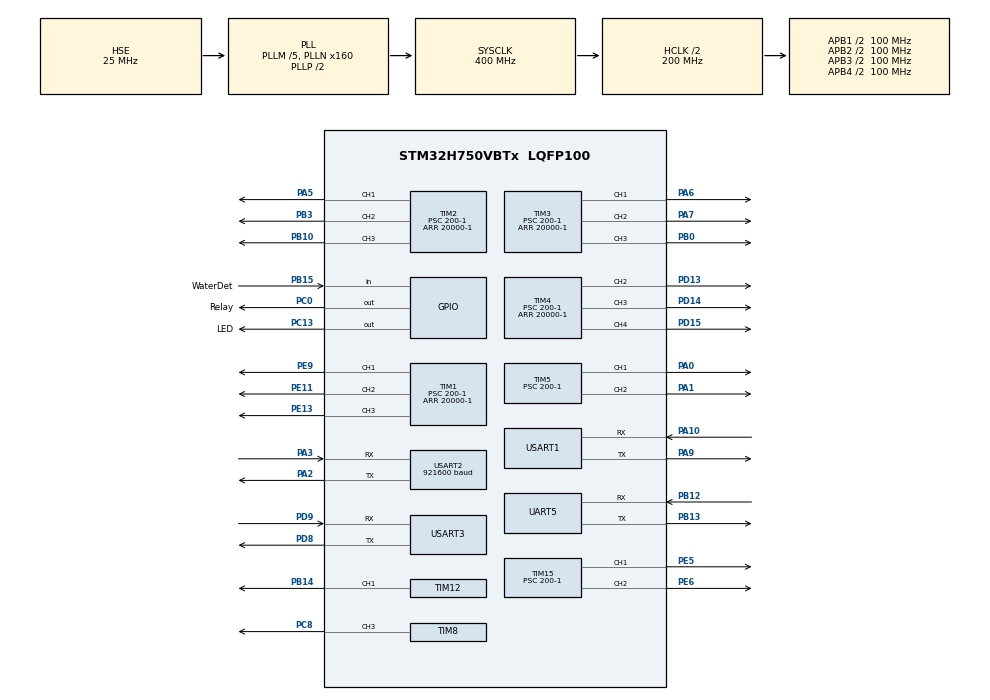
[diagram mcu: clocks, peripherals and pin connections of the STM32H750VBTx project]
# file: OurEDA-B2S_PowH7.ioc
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Dma.Request0=UART5_RX
Dma.Request1=UART5_TX
Dma.Request2=USART2_RX
Dma.Request3=USART2_TX
Dma.Request4=USART3_RX
Dma.Request5=USART3_TX
Dma.UART5_RX.0.Direction=DMA_PERIPH_TO_MEMORY
Dma.UART5_RX.0.EventEnable=DISABLE
Dma.UART5_RX.0.FIFOMode=DMA_FIFOMODE_DISABLE
Dma.UART5_RX.0.Instance=DMA1_Stream0
Dma.UART5_RX.0.MemDataAlignment=DMA_MDATAALIGN_BYTE
Dma.UART5_RX.0.MemInc=DMA_MINC_ENABLE
Dma.UART5_RX.0.Mode=DMA_NORMAL
Dma.UART5_RX.0.PeriphDataAlignment=DMA_PDATAALIGN_BYTE
Dma.UART5_RX.0.PeriphInc=DMA_PINC_DISABLE
Dma.UART5_RX.0.Polarity=HAL_DMAMUX_REQ_GEN_RISING
Dma.UART5_RX.0.Priority=DMA_PRIORITY_LOW
Dma.UART5_RX.0.RequestNumber=1
Dma.UART5_RX.0.SignalID=NONE
Dma.UART5_RX.0.SyncEnable=DISABLE
Dma.UART5_RX.0.SyncPolarity=HAL_DMAMUX_SYNC_NO_EVENT
Dma.UART5_RX.0.SyncRequestNumber=1
Dma.UART5_RX.0.SyncSignalID=NONE
Dma.UART5_TX.1.Direction=DMA_MEMORY_TO_PERIPH
Dma.UART5_TX.1.EventEnable=DISABLE
Dma.UART5_TX.1.FIFOMode=DMA_FIFOMODE_DISABLE
Dma.UART5_TX.1.Instance=DMA1_Stream1
Dma.UART5_TX.1.MemDataAlignment=DMA_MDATAALIGN_BYTE
Dma.UART5_TX.1.MemInc=DMA_MINC_ENABLE
Dma.UART5_TX.1.Mode=DMA_NORMAL
Dma.UART5_TX.1.PeriphDataAlignment=DMA_PDATAALIGN_BYTE
Dma.UART5_TX.1.PeriphInc=DMA_PINC_DISABLE
Dma.UART5_TX.1.Polarity=HAL_DMAMUX_REQ_GEN_RISING
Dma.UART5_TX.1.Priority=DMA_PRIORITY_LOW
Dma.UART5_TX.1.RequestNumber=1
Dma.UART5_TX.1.SignalID=NONE
Dma.UART5_TX.1.SyncEnable=DISABLE
Dma.UART5_TX.1.SyncPolarity=HAL_DMAMUX_SYNC_NO_EVENT
Dma.UART5_TX.1.SyncRequestNumber=1
Dma.UART5_TX.1.SyncSignalID=NONE
Dma.USART2_RX.2.Direction=DMA_PERIPH_TO_MEMORY
Dma.USART2_RX.2.EventEnable=DISABLE
Dma.USART2_RX.2.FIFOMode=DMA_FIFOMODE_DISABLE
Dma.USART2_RX.2.Instance=DMA1_Stream2
Dma.USART2_RX.2.MemDataAlignment=DMA_MDATAALIGN_BYTE
Dma.USART2_RX.2.MemInc=DMA_MINC_ENABLE
Dma.USART2_RX.2.Mode=DMA_NORMAL
Dma.USART2_RX.2.PeriphDataAlignment=DMA_PDATAALIGN_BYTE
Dma.USART2_RX.2.PeriphInc=DMA_PINC_DISABLE
Dma.USART2_RX.2.Polarity=HAL_DMAMUX_REQ_GEN_RISING
Dma.USART2_RX.2.Priority=DMA_PRIORITY_LOW
Dma.USART2_RX.2.RequestNumber=1
Dma.USART2_RX.2.SignalID=NONE
Dma.USART2_RX.2.SyncEnable=DISABLE
Dma.USART2_RX.2.SyncPolarity=HAL_DMAMUX_SYNC_NO_EVENT
Dma.USART2_RX.2.SyncRequestNumber=1
Dma.USART2_RX.2.SyncSignalID=NONE
Dma.USART2_TX.3.Direction=DMA_MEMORY_TO_PERIPH
Dma.USART2_TX.3.EventEnable=DISABLE
Dma.USART2_TX.3.FIFOMode=DMA_FIFOMODE_DISABLE
Dma.USART2_TX.3.Instance=DMA1_Stream3
Dma.USART2_TX.3.MemDataAlignment=DMA_MDATAALIGN_BYTE
Dma.USART2_TX.3.MemInc=DMA_MINC_ENABLE
Dma.USART2_TX.3.Mode=DMA_NORMAL
Dma.USART2_TX.3.PeriphDataAlignment=DMA_PDATAALIGN_BYTE
Dma.USART2_TX.3.PeriphInc=DMA_PINC_DISABLE
Dma.USART2_TX.3.Polarity=HAL_DMAMUX_REQ_GEN_RISING
Dma.USART2_TX.3.Priority=DMA_PRIORITY_LOW
Dma.USART2_TX.3.RequestNumber=1
Dma.USART2_TX.3.SignalID=NONE
Dma.USART2_TX.3.SyncEnable=DISABLE
Dma.USART2_TX.3.SyncPolarity=HAL_DMAMUX_SYNC_NO_EVENT
Dma.USART2_TX.3.SyncRequestNumber=1
Dma.USART2_TX.3.SyncSignalID=NONE
Dma.USART3_RX.4.Direction=DMA_PERIPH_TO_MEMORY
Dma.USART3_RX.4.EventEnable=DISABLE
Dma.USART3_RX.4.FIFOMode=DMA_FIFOMODE_DISABLE
Dma.USART3_RX.4.Instance=DMA1_Stream4
Dma.USART3_RX.4.MemDataAlignment=DMA_MDATAALIGN_BYTE
Dma.USART3_RX.4.MemInc=DMA_MINC_ENABLE
Dma.USART3_RX.4.Mode=DMA_NORMAL
Dma.USART3_RX.4.PeriphDataAlignment=DMA_PDATAALIGN_BYTE
Dma.USART3_RX.4.PeriphInc=DMA_PINC_DISABLE
Dma.USART3_RX.4.Polarity=HAL_DMAMUX_REQ_GEN_RISING
Dma.USART3_RX.4.Priority=DMA_PRIORITY_LOW
Dma.USART3_RX.4.RequestNumber=1
Dma.USART3_RX.4.SignalID=NONE
Dma.USART3_RX.4.SyncEnable=DISABLE
Dma.USART3_RX.4.SyncPolarity=HAL_DMAMUX_SYNC_NO_EVENT
Dma.USART3_RX.4.SyncRequestNumber=1
Dma.USART3_RX.4.SyncSignalID=NONE
Dma.USART3_TX.5.Direction=DMA_MEMORY_TO_PERIPH
Dma.USART3_TX.5.EventEnable=DISABLE
Dma.USART3_TX.5.FIFOMode=DMA_FIFOMODE_DISABLE
Dma.USART3_TX.5.Instance=DMA1_Stream5
Dma.USART3_TX.5.MemDataAlignment=DMA_MDATAALIGN_BYTE
Dma.USART3_TX.5.MemInc=DMA_MINC_ENABLE
Dma.USART3_TX.5.Mode=DMA_NORMAL
Dma.USART3_TX.5.PeriphDataAlignment=DMA_PDATAALIGN_BYTE
Dma.USART3_TX.5.PeriphInc=DMA_PINC_DISABLE
Dma.USART3_TX.5.Polarity=HAL_DMAMUX_REQ_GEN_RISING
Dma.USART3_TX.5.Priority=DMA_PRIORITY_LOW
Dma.USART3_TX.5.RequestNumber=1
Dma.USART3_TX.5.SignalID=NONE
Dma.USART3_TX.5.SyncEnable=DISABLE
Dma.USART3_TX.5.SyncPolarity=HAL_DMAMUX_SYNC_NO_EVENT
Dma.USART3_TX.5.SyncRequestNumber=1
Dma.USART3_TX.5.SyncSignalID=NONE
FREERTOS.BinarySemaphores01=WT931_DONE_sem,Static,WT931_DONE_semControlBlock;GY39_Done_sem,Static,GY39_Done_semControlBlock;CMD_DONE_sem,Static,CMD_DONE_semControlBlock
FREERTOS.Queues01=WT931_Queue,2,IMUData_t,0,Static,WT931_QueueBuffer,WT931_QueueControlBlock;GY39_Queue,2,CarbinData_t,0,Static,GY39_QueueBuffer,GY39_QueueControlBlock;Attitude_Queue,2,IMUData_t,0,Static,Attitude_QueueBuffer,Attitude_QueueControlBlock
FREERTOS.Tasks01=Thread_Idle,-2,512,Thread_IdleEntry,Default,NULL,Static,Thread_IdleBuffer,Thread_IdleControlBlock;Thread_GY39,-1,512,Thread_GY39Entry,Default,NULL,Static,Thread_GY39Buffer,Thread_GY39ControlBlock;Thread_WT931,-1,512,Thread_WT931Entry,Default,NULL,Static,Thread_WT931Buffer,Thread_WT931ControlBlock;Thread_Control,0,512,Thread_ControlEntry,Default,NULL,Static,Thread_ControlBuffer,Thread_ControlControlBlock;Thread_Sensor,0,512,Thread_SensorEntry,Default,NULL,Static,Thread_SensorBuffer,Thread_SensorControlBlock
FREERTOS.configENABLE_FPU=1
Mcu.Family=STM32H7
Mcu.Name=STM32H750VBTx
Mcu.Package=LQFP100
NVIC.DMA1_Stream0_IRQn=true\:5\:0\:false\:false\:true\:true\:false\:true
NVIC.DMA1_Stream1_IRQn=true\:5\:0\:false\:false\:true\:true\:false\:true
NVIC.DMA1_Stream2_IRQn=true\:5\:0\:false\:false\:true\:true\:false\:true
NVIC.DMA1_Stream3_IRQn=true\:5\:0\:false\:false\:true\:true\:false\:true
NVIC.DMA1_Stream4_IRQn=true\:5\:0\:false\:false\:true\:true\:false\:true
NVIC.DMA1_Stream5_IRQn=true\:5\:0\:false\:false\:true\:true\:false\:true
NVIC.PriorityGroup=NVIC_PRIORITYGROUP_4
NVIC.TIM6_DAC_IRQn=true\:15\:0\:false\:false\:true\:false\:false\:true
NVIC.TimeBase=TIM6_DAC_IRQn
NVIC.TimeBaseIP=TIM6
NVIC.UART5_IRQn=true\:5\:0\:false\:false\:true\:true\:true\:true
NVIC.USART2_IRQn=true\:5\:0\:false\:false\:true\:true\:true\:true
NVIC.USART3_IRQn=true\:5\:0\:false\:false\:true\:true\:true\:true
PA0.Signal=S_TIM5_CH1
PA1.Signal=S_TIM5_CH2
PA10.Mode=Asynchronous
PA10.Signal=USART1_RX
PA13\ (JTMS/SWDIO).Mode=Serial_Wire
PA13\ (JTMS/SWDIO).Signal=DEBUG_JTMS-SWDIO
PA14\ (JTCK/SWCLK).Mode=Serial_Wire
PA14\ (JTCK/SWCLK).Signal=DEBUG_JTCK-SWCLK
PA2.Mode=Asynchronous
PA2.Signal=USART2_TX
PA3.Mode=Asynchronous
PA3.Signal=USART2_RX
PA5.Signal=S_TIM2_CH1_ETR
PA6.Signal=S_TIM3_CH1
PA7.Signal=S_TIM3_CH2
PA9.Mode=Asynchronous
PA9.Signal=USART1_TX
PB0.Signal=S_TIM3_CH3
PB10.Signal=S_TIM2_CH3
PB12.Mode=Asynchronous
PB12.Signal=UART5_RX
PB13.Mode=Asynchronous
PB13.Signal=UART5_TX
PB14.Signal=S_TIM12_CH1
PB15.GPIO_Label=WaterDet
PB15.Signal=GPIO_Input
PB3\ (JTDO/TRACESWO).Signal=S_TIM2_CH2
PC0.GPIO_Label=Relay
PC0.GPIO_PuPd=GPIO_PULLUP
PC0.Signal=GPIO_Output
PC13.GPIO_Label=LED
PC13.GPIO_PuPd=GPIO_PULLUP
PC13.Signal=GPIO_Output
PC14-OSC32_IN\ (OSC32_IN).Mode=LSE-External-Oscillator
PC14-OSC32_IN\ (OSC32_IN).Signal=RCC_OSC32_IN
PC15-OSC32_OUT\ (OSC32_OUT).Mode=LSE-External-Oscillator
PC15-OSC32_OUT\ (OSC32_OUT).Signal=RCC_OSC32_OUT
PC8.Signal=S_TIM8_CH3
PD13.Signal=S_TIM4_CH2
PD14.Signal=S_TIM4_CH3
PD15.Signal=S_TIM4_CH4
PD8.Mode=Asynchronous
PD8.Signal=USART3_TX
PD9.Mode=Asynchronous
PD9.Signal=USART3_RX
PE11.Signal=S_TIM1_CH2
PE13.Signal=S_TIM1_CH3
PE5.Signal=S_TIM15_CH1
PE6.Signal=S_TIM15_CH2
PE9.Signal=S_TIM1_CH1
PH0-OSC_IN\ (PH0).Mode=HSE-External-Oscillator
PH0-OSC_IN\ (PH0).Signal=RCC_OSC_IN
PH1-OSC_OUT\ (PH1).Mode=HSE-External-Oscillator
PH1-OSC_OUT\ (PH1).Signal=RCC_OSC_OUT
ProjectManager.HeapSize=0x200
ProjectManager.StackSize=0x400
ProjectManager.TargetToolchain=STM32CubeIDE
RCC.ADCFreq_Value=50390625
RCC.APB1Freq_Value=100000000
RCC.APB2Freq_Value=100000000
RCC.APB3Freq_Value=100000000
RCC.APB4Freq_Value=100000000
RCC.CortexFreq_Value=400000000
RCC.D1PPRE=RCC_APB3_DIV2
RCC.D2PPRE1=RCC_APB1_DIV2
RCC.D2PPRE2=RCC_APB2_DIV2
RCC.D3PPRE=RCC_APB4_DIV2
RCC.DIVM1=5
RCC.DIVN1=160
RCC.HCLKFreq_Value=200000000
RCC.HPRE=RCC_HCLK_DIV2
RCC.PLLSourceVirtual=RCC_PLLSOURCE_HSE
RCC.SYSCLKFreq_VALUE=400000000
RCC.SYSCLKSource=RCC_SYSCLKSOURCE_PLLCLK
RCC.USBFreq_Value=400000000
SH.S_TIM12_CH1.0=TIM12_CH1,PWM Generation1 CH1
SH.S_TIM15_CH1.0=TIM15_CH1,PWM Generation1 CH1
SH.S_TIM15_CH2.0=TIM15_CH2,PWM Generation2 CH2
SH.S_TIM1_CH1.0=TIM1_CH1,PWM Generation1 CH1
SH.S_TIM1_CH2.0=TIM1_CH2,PWM Generation2 CH2
SH.S_TIM1_CH3.0=TIM1_CH3,PWM Generation3 CH3
SH.S_TIM2_CH1_ETR.0=TIM2_CH1,PWM Generation1 CH1
SH.S_TIM2_CH2.0=TIM2_CH2,PWM Generation2 CH2
SH.S_TIM2_CH3.0=TIM2_CH3,PWM Generation3 CH3
SH.S_TIM3_CH1.0=TIM3_CH1,PWM Generation1 CH1
SH.S_TIM3_CH2.0=TIM3_CH2,PWM Generation2 CH2
SH.S_TIM3_CH3.0=TIM3_CH3,PWM Generation3 CH3
SH.S_TIM4_CH2.0=TIM4_CH2,PWM Generation2 CH2
SH.S_TIM4_CH3.0=TIM4_CH3,PWM Generation3 CH3
SH.S_TIM4_CH4.0=TIM4_CH4,PWM Generation4 CH4
SH.S_TIM5_CH1.0=TIM5_CH1,PWM Generation1 CH1
SH.S_TIM5_CH2.0=TIM5_CH2,PWM Generation2 CH2
SH.S_TIM8_CH3.0=TIM8_CH3,PWM Generation3 CH3
TIM1.Channel-PWM\ Generation1\ CH1=TIM_CHANNEL_1
TIM1.Channel-PWM\ Generation2\ CH2=TIM_CHANNEL_2
TIM1.Channel-PWM\ Generation3\ CH3=TIM_CHANNEL_3
TIM1.Period=20000-1
TIM1.Prescaler=200-1
TIM1.Pulse-PWM\ Generation1\ CH1=1500
TIM1.Pulse-PWM\ Generation2\ CH2=1500
TIM1.Pulse-PWM\ Generation3\ CH3=1500
TIM12.Channel-PWM\ Generation1\ CH1=TIM_CHANNEL_1
TIM12.Period=20000-1
TIM12.Prescaler=200-1
TIM12.Pulse-PWM\ Generation1\ CH1=1500
TIM15.Channel-PWM\ Generation1\ CH1=TIM_CHANNEL_1
TIM15.Channel-PWM\ Generation2\ CH2=TIM_CHANNEL_2
TIM15.Period=20000-1
TIM15.Prescaler=200-1
TIM15.Pulse-PWM\ Generation1\ CH1=1500
TIM15.Pulse-PWM\ Generation2\ CH2=1500
TIM2.Channel-PWM\ Generation1\ CH1=TIM_CHANNEL_1
TIM2.Channel-PWM\ Generation2\ CH2=TIM_CHANNEL_2
TIM2.Channel-PWM\ Generation3\ CH3=TIM_CHANNEL_3
TIM2.Period=20000-1
TIM2.Prescaler=200-1
TIM2.Pulse-PWM\ Generation1\ CH1=1500
TIM2.Pulse-PWM\ Generation2\ CH2=1500
TIM2.Pulse-PWM\ Generation3\ CH3=1500
TIM3.Channel-PWM\ Generation1\ CH1=TIM_CHANNEL_1
TIM3.Channel-PWM\ Generation2\ CH2=TIM_CHANNEL_2
TIM3.Channel-PWM\ Generation3\ CH3=TIM_CHANNEL_3
TIM3.Period=20000-1
TIM3.Prescaler=200-1
TIM3.Pulse-PWM\ Generation1\ CH1=1500
TIM3.Pulse-PWM\ Generation2\ CH2=1500
TIM3.Pulse-PWM\ Generation3\ CH3=1500
TIM4.Channel-PWM\ Generation2\ CH2=TIM_CHANNEL_2
TIM4.Channel-PWM\ Generation3\ CH3=TIM_CHANNEL_3
TIM4.Channel-PWM\ Generation4\ CH4=TIM_CHANNEL_4
TIM4.Period=20000-1
TIM4.Prescaler=200-1
TIM4.Pulse-PWM\ Generation2\ CH2=1500
TIM4.Pulse-PWM\ Generation3\ CH3=1500
TIM4.Pulse-PWM\ Generation4\ CH4=1500
TIM5.Channel-PWM\ Generation1\ CH1=TIM_CHANNEL_1
TIM5.Channel-PWM\ Generation2\ CH2=TIM_CHANNEL_2
TIM5.Period=20000-1
TIM5.Prescaler=200-1
TIM5.Pulse-PWM\ Generation1\ CH1=1500
TIM5.Pulse-PWM\ Generation2\ CH2=1500
TIM8.Channel-PWM\ Generation3\ CH3=TIM_CHANNEL_3
TIM8.Period=20000-1
TIM8.Prescaler=200-1
TIM8.Pulse-PWM\ Generation3\ CH3=1500
USART1.VirtualMode-Asynchronous=VM_ASYNC
USART2.BaudRate=921600
USART2.VirtualMode-Asynchronous=VM_ASYNC
USART3.VirtualMode-Asynchronous=VM_ASYNC
VP_FREERTOS_VS_CMSIS_V1.Mode=CMSIS_V1
VP_SYS_VS_tim6.Mode=TIM6
VP_TIM12_VS_ClockSourceINT.Mode=Internal
VP_TIM15_VS_ClockSourceINT.Mode=Internal
VP_TIM1_VS_ClockSourceINT.Mode=Internal
VP_TIM2_VS_ClockSourceINT.Mode=Internal
VP_TIM3_VS_ClockSourceINT.Mode=Internal
VP_TIM4_VS_ClockSourceINT.Mode=Internal
VP_TIM5_VS_ClockSourceINT.Mode=Internal
VP_TIM8_VS_ClockSourceINT.Mode=Internal
board=custom

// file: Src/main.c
/* USER CODE BEGIN Header */
/**
  ******************************************************************************
  * @file           : main.c
  * @brief          : Main program body
  ******************************************************************************
  * @attention
  *
  * Copyright (c) 2022 STMicroelectronics.
  * All rights reserved.
  *
  * This software is licensed under terms that can be found in the LICENSE file
  * in the root directory of this software component.
  * If no LICENSE file comes with this software, it is provided AS-IS.
  *
  ******************************************************************************
  */
/* USER CODE END Header */
#include "main.h"
#include "cmsis_os.h"
#include "dma.h"
#include "tim.h"
#include "usart.h"
#include "gpio.h"

void SystemClock_Config(void);
void MX_FREERTOS_Init(void);

int main(void)
{

  /* MCU Configuration--------------------------------------------------------*/

  /* Reset of all peripherals, Initializes the Flash interface and the Systick. */
  HAL_Init();

  /* Configure the system clock */
  SystemClock_Config();

  /* Initialize all configured peripherals */
  MX_GPIO_Init();
  MX_DMA_Init();
  MX_TIM1_Init();
  MX_TIM2_Init();
  MX_TIM3_Init();
  MX_TIM4_Init();
  MX_TIM5_Init();
  MX_TIM8_Init();
  MX_TIM12_Init();
  MX_TIM15_Init();
  MX_UART5_Init();
  MX_USART1_UART_Init();
  MX_USART2_UART_Init();
  MX_USART3_UART_Init();
  /* USER CODE BEGIN 2 */

  HAL_GPIO_WritePin(LED_GPIO_Port, LED_Pin, GPIO_PIN_SET);
  HAL_GPIO_WritePin(Relay_GPIO_Port, Relay_Pin, GPIO_PIN_RESET);
  HAL_TIM_PWM_Start(&htim1, TIM_CHANNEL_1);
  HAL_TIM_PWM_Start(&htim1, TIM_CHANNEL_2);
  HAL_TIM_PWM_Start(&htim1, TIM_CHANNEL_3);
  HAL_TIM_PWM_Start(&htim2, TIM_CHANNEL_1);
  HAL_TIM_PWM_Start(&htim2, TIM_CHANNEL_2);
  HAL_TIM_PWM_Start(&htim2, TIM_CHANNEL_3);
  HAL_TIM_PWM_Start(&htim3, TIM_CHANNEL_1);
  HAL_TIM_PWM_Start(&htim3, TIM_CHANNEL_2);
  HAL_TIM_PWM_Start(&htim3, TIM_CHANNEL_3);
  HAL_TIM_PWM_Start(&htim4, TIM_CHANNEL_2);
  HAL_TIM_PWM_Start(&htim4, TIM_CHANNEL_3);
  HAL_TIM_PWM_Start(&htim4, TIM_CHANNEL_4);
  HAL_TIM_PWM_Start(&htim5, TIM_CHANNEL_1);
  HAL_TIM_PWM_Start(&htim5, TIM_CHANNEL_2);
  HAL_TIM_PWM_Start(&htim8, TIM_CHANNEL_3);
  HAL_TIM_PWM_Start(&htim12, TIM_CHANNEL_1);
  HAL_TIM_PWM_Start(&htim15, TIM_CHANNEL_1);
  HAL_TIM_PWM_Start(&htim15, TIM_CHANNEL_2);

  /* USER CODE END 2 */

  /* Call init function for freertos objects (in freertos.c) */
  MX_FREERTOS_Init();
  /* Start scheduler */
  osKernelStart();

  /* We should never get here as control is now taken by the scheduler */
  /* Infinite loop */
  while (1)
  {

  }
}

void SystemClock_Config(void)
{
  RCC_OscInitTypeDef RCC_OscInitStruct = {0};
  RCC_ClkInitTypeDef RCC_ClkInitStruct = {0};

  /** Supply configuration update enable
  */
  HAL_PWREx_ConfigSupply(PWR_LDO_SUPPLY);
  /** Configure the main internal regulator output voltage
  */
  __HAL_PWR_VOLTAGESCALING_CONFIG(PWR_REGULATOR_VOLTAGE_SCALE1);

  while(!__HAL_PWR_GET_FLAG(PWR_FLAG_VOSRDY)) {}
  /** Initializes the RCC Oscillators according to the specified parameters
  * in the RCC_OscInitTypeDef structure.
  */
  RCC_OscInitStruct.OscillatorType = RCC_OSCILLATORTYPE_HSE;
  RCC_OscInitStruct.HSEState = RCC_HSE_ON;
  RCC_OscInitStruct.PLL.PLLState = RCC_PLL_ON;
  RCC_OscInitStruct.PLL.PLLSource = RCC_PLLSOURCE_HSE;
  RCC_OscInitStruct.PLL.PLLM = 5;
  RCC_OscInitStruct.PLL.PLLN = 160;
  RCC_OscInitStruct.PLL.PLLP = 2;
  RCC_OscInitStruct.PLL.PLLQ = 2;
  RCC_OscInitStruct.PLL.PLLR = 2;
  RCC_OscInitStruct.PLL.PLLRGE = RCC_PLL1VCIRANGE_2;
  RCC_OscInitStruct.PLL.PLLVCOSEL = RCC_PLL1VCOWIDE;
  RCC_OscInitStruct.PLL.PLLFRACN = 0;
  if (HAL_RCC_OscConfig(&RCC_OscInitStruct) != HAL_OK)
  {
    Error_Handler();
  }
  /** Initializes the CPU, AHB and APB buses clocks
  */
  RCC_ClkInitStruct.ClockType = RCC_CLOCKTYPE_HCLK|RCC_CLOCKTYPE_SYSCLK
                              |RCC_CLOCKTYPE_PCLK1|RCC_CLOCKTYPE_PCLK2
                              |RCC_CLOCKTYPE_D3PCLK1|RCC_CLOCKTYPE_D1PCLK1;
  RCC_ClkInitStruct.SYSCLKSource = RCC_SYSCLKSOURCE_PLLCLK;
  RCC_ClkInitStruct.SYSCLKDivider = RCC_SYSCLK_DIV1;
  RCC_ClkInitStruct.AHBCLKDivider = RCC_HCLK_DIV2;
  RCC_ClkInitStruct.APB3CLKDivider = RCC_APB3_DIV2;
  RCC_ClkInitStruct.APB1CLKDivider = RCC_APB1_DIV2;
  RCC_ClkInitStruct.APB2CLKDivider = RCC_APB2_DIV2;
  RCC_ClkInitStruct.APB4CLKDivider = RCC_APB4_DIV2;

  if (HAL_RCC_ClockConfig(&RCC_ClkInitStruct, FLASH_LATENCY_2) != HAL_OK)
  {
    Error_Handler();
  }
}

void HAL_TIM_PeriodElapsedCallback(TIM_HandleTypeDef *htim)
{
  if (htim->Instance == TIM6) {
    HAL_IncTick();
  }
}

void Error_Handler(void)
{
  __disable_irq();
  while (1)
  {
  }
}

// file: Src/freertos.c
/* USER CODE BEGIN Header */
/**
 ******************************************************************************
 * File Name          : freertos.c
 * Description        : Code for freertos applications
 ******************************************************************************
 * @attention
 *
 * Copyright (c) 2022 STMicroelectronics.
 * All rights reserved.
 *
 * This software is licensed under terms that can be found in the LICENSE file
 * in the root directory of this software component.
 * If no LICENSE file comes with this software, it is provided AS-IS.
 *
 ******************************************************************************
 */
/* USER CODE END Header */

#include "FreeRTOS.h"
#include "task.h"
#include "main.h"
#include "cmsis_os.h"

/* USER CODE BEGIN Includes */
#include "BasicCtrl.h"
#include "Sensor.h"
#include "Algorithm.h"

#include "usart.h"
#include "gpio.h"
#include "dma.h"
#include "tim.h"

#include <stdio.h>
#include <stdlib.h>
#include <string.h>
#include <math.h>

/* USER CODE END Includes */

osThreadId Thread_IdleHandle;
uint32_t Thread_IdleBuffer[512];
osStaticThreadDef_t Thread_IdleControlBlock;
osThreadId Thread_GY39Handle;
uint32_t Thread_GY39Buffer[512];
osStaticThreadDef_t Thread_GY39ControlBlock;
osThreadId Thread_WT931Handle;
uint32_t Thread_WT931Buffer[512];
osStaticThreadDef_t Thread_WT931ControlBlock;
osThreadId Thread_ControlHandle;
uint32_t Thread_ControlBuffer[512];
osStaticThreadDef_t Thread_ControlControlBlock;
osThreadId Thread_SensorHandle;
uint32_t Thread_SensorBuffer[512];
osStaticThreadDef_t Thread_SensorControlBlock;
osMessageQId WT931_QueueHandle;
uint8_t WT931_QueueBuffer[2 * sizeof(IMUData_t)];
osStaticMessageQDef_t WT931_QueueControlBlock;
osMessageQId GY39_QueueHandle;
uint8_t GY39_QueueBuffer[2 * sizeof(CarbinData_t)];
osStaticMessageQDef_t GY39_QueueControlBlock;
osSemaphoreId WT931_DONE_semHandle;
osStaticSemaphoreDef_t WT931_DONE_semControlBlock;
osSemaphoreId GY39_Done_semHandle;
osStaticSemaphoreDef_t GY39_Done_semControlBlock;
osSemaphoreId CMD_DONE_semHandle;
osStaticSemaphoreDef_t CMD_DONE_semControlBlock;

/* USER CODE BEGIN FunctionPrototypes */

osThreadId Thread_RecvCmdHandle;
uint32_t Thread_RecvCmdBuffer[2 * sizeof(ControlData_t)];
osStaticThreadDef_t Thread_RecvCmdControlBlock;

osMessageQId Cmd_QueueHandle;
uint8_t Cmd_QueueBuffer[1 * sizeof(ControlData_t)];
osStaticMessageQDef_t Cmd_QueueControlBlock;

osMutexId MAIN_UART_mutexHandle;
osStaticMutexDef_t MAIN_UART_mutexControlBlock;

void Thread_RecvCmdEntry(void const *argument);

/* USER CODE END FunctionPrototypes */

void Thread_IdleEntry(void const *argument);
void Thread_GY39Entry(void const *argument);
void Thread_WT931Entry(void const *argument);
void Thread_ControlEntry(void const *argument);
void Thread_SensorEntry(void const *argument);

void MX_FREERTOS_Init(void); /* (MISRA C 2004 rule 8.1) */

/* GetIdleTaskMemory prototype (linked to static allocation support) */
void vApplicationGetIdleTaskMemory(StaticTask_t **ppxIdleTaskTCBBuffer,
		StackType_t **ppxIdleTaskStackBuffer, uint32_t *pulIdleTaskStackSize);

/* USER CODE BEGIN GET_IDLE_TASK_MEMORY */
static StaticTask_t xIdleTaskTCBBuffer;
static StackType_t xIdleStack[configMINIMAL_STACK_SIZE];

void vApplicationGetIdleTaskMemory(StaticTask_t **ppxIdleTaskTCBBuffer,
		StackType_t **ppxIdleTaskStackBuffer, uint32_t *pulIdleTaskStackSize)
{
	*ppxIdleTaskTCBBuffer = &xIdleTaskTCBBuffer;
	*ppxIdleTaskStackBuffer = &xIdleStack[0];
	*pulIdleTaskStackSize = configMINIMAL_STACK_SIZE;
	/* place for user code */
}
/* USER CODE END GET_IDLE_TASK_MEMORY */

void MX_FREERTOS_Init(void)
{

	/* USER CODE BEGIN RTOS_MUTEX */
	/* add mutexes, ... */
	osMutexStaticDef(MAIN_UART_mutex, &MAIN_UART_mutexControlBlock);
	MAIN_UART_mutexHandle = osMutexCreate(osMutex(MAIN_UART_mutex));
	/* USER CODE END RTOS_MUTEX */

	/* Create the semaphores(s) */
	/* definition and creation of WT931_DONE_sem */
	osSemaphoreStaticDef(WT931_DONE_sem, &WT931_DONE_semControlBlock);
	WT931_DONE_semHandle = osSemaphoreCreate(osSemaphore(WT931_DONE_sem), 1);

	/* definition and creation of GY39_Done_sem */
	osSemaphoreStaticDef(GY39_Done_sem, &GY39_Done_semControlBlock);
	GY39_Done_semHandle = osSemaphoreCreate(osSemaphore(GY39_Done_sem), 1);

	/* definition and creation of CMD_DONE_sem */
	osSemaphoreStaticDef(CMD_DONE_sem, &CMD_DONE_semControlBlock);
	CMD_DONE_semHandle = osSemaphoreCreate(osSemaphore(CMD_DONE_sem), 1);

	/* Create the queue(s) */
	/* definition and creation of WT931_Queue */
	osMessageQStaticDef(WT931_Queue, 2, IMUData_t, WT931_QueueBuffer,
			&WT931_QueueControlBlock);
	WT931_QueueHandle = osMessageCreate(osMessageQ(WT931_Queue), NULL);

	/* definition and creation of GY39_Queue */
	osMessageQStaticDef(GY39_Queue, 2, CarbinData_t, GY39_QueueBuffer,
			&GY39_QueueControlBlock);
	GY39_QueueHandle = osMessageCreate(osMessageQ(GY39_Queue), NULL);

	/* USER CODE BEGIN RTOS_QUEUES */
	/* add queues, ... */
	osMessageQStaticDef(Cmd_Queue, 1, ControlData_t, Cmd_QueueBuffer,
			&Cmd_QueueControlBlock);
	Cmd_QueueHandle = osMessageCreate(osMessageQ(Cmd_Queue), NULL);

	/* USER CODE END RTOS_QUEUES */

	/* Create the thread(s) */
	/* definition and creation of Thread_Idle */
	osThreadStaticDef(Thread_Idle, Thread_IdleEntry, osPriorityLow, 0, 512,
			Thread_IdleBuffer, &Thread_IdleControlBlock);
	Thread_IdleHandle = osThreadCreate(osThread(Thread_Idle), NULL);

	/* definition and creation of Thread_GY39 */
//	osThreadStaticDef(Thread_GY39, Thread_GY39Entry, osPriorityNormal, 0, 512,
	osThreadStaticDef(Thread_GY39, Thread_GY39Entry, osPriorityBelowNormal, 0,
			512, Thread_GY39Buffer, &Thread_GY39ControlBlock);
	Thread_GY39Handle = osThreadCreate(osThread(Thread_GY39), NULL);

	/* definition and creation of Thread_WT931 */
//	osThreadStaticDef(Thread_WT931, Thread_WT931Entry, osPriorityNormal, 0, 512,
	osThreadStaticDef(Thread_WT931, Thread_WT931Entry, osPriorityBelowNormal, 0,
			512, Thread_WT931Buffer, &Thread_WT931ControlBlock);
	Thread_WT931Handle = osThreadCreate(osThread(Thread_WT931), NULL);

	/* definition and creation of Thread_Control */
	osThreadStaticDef(Thread_Control, Thread_ControlEntry, osPriorityNormal, 0,
			512, Thread_ControlBuffer, &Thread_ControlControlBlock);
	Thread_ControlHandle = osThreadCreate(osThread(Thread_Control), NULL);

	/* definition and creation of Thread_Sensor */
	osThreadStaticDef(Thread_Sensor, Thread_SensorEntry, osPriorityNormal, 0,
			512, Thread_SensorBuffer, &Thread_SensorControlBlock);
	Thread_SensorHandle = osThreadCreate(osThread(Thread_Sensor), NULL);

	/* USER CODE BEGIN RTOS_THREADS */
	/* add threads, ... */
	osThreadStaticDef(Thread_RecvCmd, Thread_RecvCmdEntry, osPriorityNormal, 0,
			512, Thread_RecvCmdBuffer, &Thread_RecvCmdControlBlock);
	Thread_RecvCmdHandle = osThreadCreate(osThread(Thread_RecvCmd), NULL);
	/* USER CODE END RTOS_THREADS */

}

void Thread_IdleEntry(void const *argument)
{
	/* USER CODE BEGIN Thread_IdleEntry */
	/* Infinite loop */
	for (;;)
	{
//		HAL_GPIO_TogglePin(LED_GPIO_Port, LED_Pin);
		osDelay(1000);
	}
	/* USER CODE END Thread_IdleEntry */
}

void Thread_GY39Entry(void const *argument)
{
	/* USER CODE BEGIN Thread_GY39Entry */
	uint8_t GY39_TxBuffer[TEMPER_UART_TXLen] =
	{ 0 };
	uint8_t GY39_RxBuffer[TEMPER_UART_RXLen] =
	{ 0 };
	CarbinData_t gy39_data;

	InitGY39(GY39_TxBuffer);
	HAL_UART_Transmit_DMA(&TEMPER_UART, GY39_TxBuffer, sizeof(GY39_TxBuffer));

	__HAL_UART_ENABLE_IT(&TEMPER_UART, UART_IT_IDLE);
	HAL_UART_Receive_DMA(&TEMPER_UART, GY39_RxBuffer, sizeof(GY39_RxBuffer));

	/* Infinite loop */
	for (;;)
	{
		if (xSemaphoreTake(GY39_Done_semHandle, 0) == pdTRUE)
		{
			gy39_data = ReceiveGY39(GY39_RxBuffer);

//			printf("t:%d, %d, %d\r\n", gy39_data.CarbinBarometric,
//					gy39_data.CarbinHumidity, gy39_data.CarbinTemperature);
			xQueueSendToFront(GY39_QueueHandle, (void* )&gy39_data, 0);

			memset(&GY39_RxBuffer, 0, sizeof(GY39_RxBuffer));
			__HAL_UART_ENABLE_IT(&TEMPER_UART, UART_IT_IDLE);
			HAL_UART_Receive_DMA(&TEMPER_UART, GY39_RxBuffer,
					sizeof(GY39_RxBuffer));
		}

		osDelay(100);
	}
	/* USER CODE END Thread_GY39Entry */
}

void Thread_WT931Entry(void const *argument)
{
	/* USER CODE BEGIN Thread_WT931Entry */
	uint8_t WT931_RxBuffer[2 * AXIS_UART_RXLen] =
	{ 0 };
	IMUData_t wt931_data;

	__HAL_UART_ENABLE_IT(&AXIS_UART, UART_IT_IDLE);
	HAL_UART_Receive_DMA(&AXIS_UART, WT931_RxBuffer, sizeof(WT931_RxBuffer));

	/* Infinite loop */
	for (;;)
	{
		if (xSemaphoreTake(WT931_DONE_semHandle, 0) == pdTRUE)
		{
			wt931_data = ReceiveWT931(WT931_RxBuffer);

//			printf("a:%d, %d, %d\r\n", wt931_data.EulerAngle[0],
//					wt931_data.EulerAngle[1], wt931_data.EulerAngle[2]);
			xQueueSendToFront(WT931_QueueHandle, (void* )&wt931_data, 0);
//			xQueueSendToFront(Attitude_QueueHandle, (void* )&wt931_data, 0);

			memset(&WT931_RxBuffer, 0, sizeof(WT931_RxBuffer));
			__HAL_UART_ENABLE_IT(&AXIS_UART, UART_IT_IDLE);
			HAL_UART_Receive_DMA(&AXIS_UART, WT931_RxBuffer,
					sizeof(WT931_RxBuffer));
		}
		osDelay(10);
	}
	/* USER CODE END Thread_WT931Entry */
}

void Thread_ControlEntry(void const *argument)
{
	/* USER CODE BEGIN Thread_ControlEntry */
	static ControlData_t control_data;
	static uint8_t IS_SIDEPUSH = NORMAL_MODE;

//	static uint8_t IS_ORBIT = ROV_FALSE;
//	static uint8_t IS_FIRST_ORBIT = ROV_FALSE;

//	struct Algorithm_PID self_stable_pid;
//	struct Algorithm_PID orbit_pid;
//	int32_t pid_cal = 0;
//	int32_t ss_cal = 0;
//	IMUData_t attitude_detect;
//	int32_t origin_target;

	static vu8 relay_controller;
	static PwmVal_t pwm_controller;

	pwm_controller.ArmServo[0] = (vu32) 1500;
	pwm_controller.ArmServo[1] = (vu32) 1500;
	pwm_controller.ArmServo[2] = (vu32) 1500;
	pwm_controller.ArmServo[3] = (vu32) 1500;
	pwm_controller.ArmServo[4] = (vu32) 1500;
	pwm_controller.ArmServo[5] = (vu32) 1500;
	pwm_controller.ConveyServo = (vu32) 1500;
	pwm_controller.HorizontalThruster[0] = (vu32) 1500;
	pwm_controller.HorizontalThruster[1] = (vu32) 1500;
	pwm_controller.HorizontalThruster[2] = (vu32) 1500;
	pwm_controller.HorizontalThruster[3] = (vu32) 1500;
	pwm_controller.VerticalThruster[0] = (vu32) 1500;
	pwm_controller.VerticalThruster[1] = (vu32) 1500;
	pwm_controller.LightServo = (vu32) 0;
	pwm_controller.PanServo = (vu32) 1500;
	pwm_controller.RestServo = (vu32) 1500;

//	initPID(&orbit_pid, PID_POSITION_MODE, 0.2);
//	initPID(&self_stable_pid, PID_ERROR_MODE, 21.84);
//	orbit_pid.Kp = -0.005;
//	orbit_pid.Ki = 0.05;
//	orbit_pid.Kd = 0.01;
//	self_stable_pid.Kp = 0.03;
//	self_stable_pid.Ki = 0.2;
//	self_stable_pid.Kd = 0.1;

	/* Infinite loop */
	for (;;)
	{
		if (xQueueReceive(Cmd_QueueHandle, &control_data, 0) == pdPASS)
		{
			//Mode Selection
			//check side-push
			if (control_data.Mode & SIDE_PUSH_CODE)
			{
				IS_SIDEPUSH = SIDEPUSH_MODE; //ROV_TRUE
			}
			else
			{
				IS_SIDEPUSH = NORMAL_MODE; //ROV_FALSE
			}
			//check relay control
			if (control_data.Mode & POWER_CODE)
			{
				relay_controller = (vu8) GPIO_PIN_SET; //Relay ON
			}
			else
			{
				relay_controller = (vu8) GPIO_PIN_RESET; //Relay OFF
			}
			//			//check orbit
			//			if (control_data.Mode & DIR_CODE)
			//			{
			//				if (IS_ORBIT == ROV_FALSE)
			//				{
			//					IS_FIRST_ORBIT = ROV_TRUE;
			//					IS_ORBIT = ROV_TRUE;
			//				}
			//				else
			//				{
			//					IS_FIRST_ORBIT = ROV_FALSE;
			//					IS_ORBIT = ROV_TRUE;
			//				}
			//			}
			//			else
			//			{
			//				IS_FIRST_ORBIT = ROV_FALSE;
			//				IS_ORBIT = ROV_FALSE;
			//			}

			ControlDataAnalysis(control_data, &pwm_controller, IS_SIDEPUSH);

			RestrictPwmValue((pwm_controller.HorizontalThruster[0]), 700, 2300);
			RestrictPwmValue((pwm_controller.HorizontalThruster[1]), 700, 2300);
			RestrictPwmValue((pwm_controller.HorizontalThruster[2]), 700, 2300);
			RestrictPwmValue((pwm_controller.HorizontalThruster[3]), 700, 2300);
			RestrictPwmValue((pwm_controller.VerticalThruster[0]), 700, 2300);
			RestrictPwmValue((pwm_controller.VerticalThruster[1]), 700, 2300);
			RestrictPwmValue((pwm_controller.LightServo), 0, 2000);
			RestrictPwmValue((pwm_controller.ConveyServo), 500, 2500);
			RestrictPwmValue((pwm_controller.PanServo), 500, 2500);

			if ((pwm_controller.HorizontalThruster[0] > 1480)
					&& (pwm_controller.HorizontalThruster[0] < 1520))
			{
				pwm_controller.HorizontalThruster[0] = 1500;
			}
			if ((pwm_controller.HorizontalThruster[1] > 1480)
					&& (pwm_controller.HorizontalThruster[1] < 1520))
			{
				pwm_controller.HorizontalThruster[1] = 1500;
			}
			if ((pwm_controller.HorizontalThruster[2] > 1480)
					&& (pwm_controller.HorizontalThruster[2] < 1520))
			{
				pwm_controller.HorizontalThruster[2] = 1500;
			}
			if ((pwm_controller.HorizontalThruster[3] > 1480)
					&& (pwm_controller.HorizontalThruster[3] < 1520))
			{
				pwm_controller.HorizontalThruster[3] = 1500;
			}
			if ((pwm_controller.VerticalThruster[0] > 1480)
					&& (pwm_controller.VerticalThruster[0] < 1520))
			{
				pwm_controller.VerticalThruster[0] = 1500;
			}
			if ((pwm_controller.VerticalThruster[1] > 1480)
					&& (pwm_controller.VerticalThruster[1] < 1520))
			{
				pwm_controller.VerticalThruster[1] = 1500;
			}

			if ((pwm_controller.ConveyServo > 1470)
					&& (pwm_controller.ConveyServo < 1530))
			{
				pwm_controller.ConveyServo = 1500;
			}

			if ((pwm_controller.LightServo > 0)
					&& (pwm_controller.LightServo < 50))
			{
				pwm_controller.LightServo = 0;
			}

			HAL_GPIO_WritePin(Relay_GPIO_Port, Relay_Pin, relay_controller);

			TIM1->CCR2 = pwm_controller.VerticalThruster[0]; //C2 'J8'
			TIM2->CCR2 = pwm_controller.VerticalThruster[1]; //C1 'J3'

			TIM8->CCR3 = pwm_controller.HorizontalThruster[1]; //A1 'J5'
			TIM2->CCR3 = pwm_controller.HorizontalThruster[0]; //A2 'J2'

			TIM1->CCR1 = pwm_controller.HorizontalThruster[2]; //B1 'J9'
			TIM1->CCR3 = pwm_controller.HorizontalThruster[3]; //B2 'J6'

			TIM2->CCR1 = pwm_controller.RestServo; //Pan(not used)

			TIM3->CCR1 = pwm_controller.ArmServo[2]; //Middle Arm
			TIM3->CCR2 = pwm_controller.ArmServo[1]; //Main Arm
			TIM3->CCR3 = pwm_controller.ArmServo[0]; //Horizental Arm

			TIM4->CCR2 = pwm_controller.ArmServo[5]; //Rest Machine Arm
			TIM4->CCR3 = pwm_controller.LightServo; //Light
			TIM4->CCR4 = (vu32) 1500; //hardware float(not used)

			TIM5->CCR1 = pwm_controller.ConveyServo; //Convey
			TIM5->CCR2 = pwm_controller.ArmServo[3]; //Front Arm

			//		TIM12->CCR1 = (vu32)1500; //hardware float(not used)

			TIM15->CCR1 = pwm_controller.ArmServo[4]; //Grab Arm
			TIM15->CCR2 = pwm_controller.PanServo; //Pan
		}

//			if (xSemaphoreTake(MAIN_UART_mutexHandle, 5))
//			{
//				memset(&Command_RxBuffer, 0, sizeof(Command_RxBuffer));
//				__HAL_UART_ENABLE_IT(&Master_UART, UART_IT_IDLE);
//				HAL_UART_Receive_DMA(&Master_UART, Command_RxBuffer,
//						sizeof(Command_RxBuffer));
//				xSemaphoreGive(MAIN_UART_mutexHandle);
//			}

//			memset(&Command_RxBuffer, 0, sizeof(Command_RxBuffer));
//			__HAL_UART_ENABLE_IT(&Master_UART, UART_IT_IDLE);
//			HAL_UART_Receive_DMA(&Master_UART, Command_RxBuffer,
//					sizeof(Command_RxBuffer));
//		}

//		xQueueReceive(Attitude_QueueHandle, &attitude_detect, 0); //recv 9-axis data to calculate attitude

		//self stable
//		ss_cal = (int32_t) calculatePID_position(&self_stable_pid,
//				self_stable_pid.FeedBack, attitude_detect.EulerAngle[2]);

		//orbit
//		if (IS_ORBIT == ROV_TRUE)
//		{
//			if (IS_FIRST_ORBIT == ROV_TRUE) //first orbit, get original attitude data
//			{
//				xQueueReceive(Attitude_QueueHandle, &attitude_detect, 0); //recv 9-axis data to calculate attitude
//				origin_target = attitude_detect.EulerAngle[0];
//			}
//			else //normal orbit mode, catch data for many times
//			{
//				pid_cal = (int32_t) calculatePID_position(&orbit_pid,
//						origin_target, attitude_detect.EulerAngle[0]); //orbit: X-axis
////				printf("%d, %d, %d\r\n", origin_target,
////						attitude_detect.EulerAngle[0], pid_cal);
//				MoveControl(&pwm_controller, control_data.StraightNum,
//						control_data.RotateNum + pid_cal,
//						control_data.VerticalNum, NORMAL_MODE);
//			}
//		}
////		else
////		{
//////			printf("stable: %d, %d, %l\r\n", attitude_detect.EulerAngle[2],
//////					(int32_t)self_stable_pid.FeedBack, ss_cal);
////		}

//		osDelay(100); //??? delay
		osDelay(50);
	}
	/* USER CODE END Thread_ControlEntry */
}

void Thread_SensorEntry(void const *argument)
{
	/* USER CODE BEGIN Thread_SensorEntry */
	IMUData_t wt931_data;
	CarbinData_t gy39_data;
	ReportData_t report_data;
	report_data.FrameHead = 0x25;
	report_data.CabinFunction = 0;
	report_data.FrameEnd = 0xFFFF;
	report_data.IdTest = 0x00;

	static uint8_t Report_TxBuffer[Master_UART_TXLen];

	HAL_UART_Transmit_DMA(&Master_UART, Report_TxBuffer,
			sizeof(Report_TxBuffer));
	/* Infinite loop */
	for (;;)
	{
		xQueueReceive(GY39_QueueHandle, &gy39_data, 0);
		xQueueReceive(WT931_QueueHandle, &wt931_data, 0);

//		printf("%d,%d,%d,%d,%d\r\n",wt931_data.EulerAngle[0],wt931_data.EulerAngle[1],wt931_data.EulerAngle[2],gy39_data.CarbinTemperature,gy39_data.CarbinHumidity);

		report_data.AccNum[0] = wt931_data.Acceleration[0];
		report_data.AccNum[1] = wt931_data.Acceleration[1];
		report_data.AccNum[2] = wt931_data.Acceleration[2];
		report_data.RotNum[0] = wt931_data.AngularSpeed[0];
		report_data.RotNum[1] = wt931_data.AngularSpeed[1];
		report_data.RotNum[2] = wt931_data.AngularSpeed[2];
		report_data.EulNum[0] = wt931_data.EulerAngle[0];
		report_data.EulNum[1] = wt931_data.EulerAngle[1];
		report_data.EulNum[2] = wt931_data.EulerAngle[2];
		report_data.MagNum[0] = wt931_data.MagneticValue[0];
		report_data.MagNum[1] = wt931_data.MagneticValue[1];
		report_data.MagNum[2] = wt931_data.MagneticValue[2];

		report_data.CabinTemperature = gy39_data.CarbinTemperature;
		report_data.CabinBarometric = gy39_data.CarbinBarometric;
		report_data.CabinHumidity = gy39_data.CarbinHumidity;

		report_data.WaterDetect = HAL_GPIO_ReadPin(WaterDet_GPIO_Port,
		WaterDet_Pin);

		CaptureReportData(report_data, Report_TxBuffer);

//		HAL_UART_Transmit(&Master_UART, Report_TxBuffer, sizeof(Report_TxBuffer), 0xff);
//		if (xSemaphoreTake(MAIN_UART_mutexHandle, 5))
		if (xSemaphoreTake(MAIN_UART_mutexHandle, 0))
		{
			if (HAL_UART_GetState(&Master_UART) != HAL_UART_STATE_BUSY_TX) //UART no busy
			{
				if (HAL_DMA_GetState(&Master_UART.hdmatx) != HAL_DMA_STATE_BUSY) //wait for DMA tx
				{
					if (__HAL_UART_GET_FLAG(&Master_UART,UART_FLAG_TC) == SET) //wait for UART tx
					{
						HAL_UART_Transmit_DMA(&Master_UART, Report_TxBuffer,
								sizeof(Report_TxBuffer));
//						HAL_UART_Transmit(&Master_UART, Report_TxBuffer,
//														sizeof(Report_TxBuffer), 0xff);
					}
				}
			}
			xSemaphoreGive(MAIN_UART_mutexHandle);
		}

//		osDelay(200); //wonderful delay
		osDelay(500); //////////////////////////////////////////////////////////////////////////////////这个位置改了!
	}
	/* USER CODE END Thread_SensorEntry */
}

/* USER CODE BEGIN Application */

void Thread_RecvCmdEntry(void const *argument)
{
	uint8_t Command_RxBuffer[Master_UART_RXLen * 2] =
	{ 0x25, 0x05, 0xDC, 0x05, 0xDC, 0x05, 0xDC, 0x00, 0x32, 0x05, 0xDC, 0x05,
			0xDC, 0x05, 0xDC, 0x05, 0xDC, 0x05, 0xDC, 0x05, 0xDC, 0x05, 0xDC,
			0x05, 0xDC, 0x05, 0xDC, 0x00, 0x00, 0x21, 0x25, 0x05, 0xDC, 0x05,
			0xDC, 0x05, 0xDC, 0x00, 0x32, 0x05, 0xDC, 0x05, 0xDC, 0x05, 0xDC,
			0x05, 0xDC, 0x05, 0xDC, 0x05, 0xDC, 0x05, 0xDC, 0x05, 0xDC, 0x05,
			0xDC, 0x00, 0x00, 0x21 };
	static ControlData_t control_data;

	control_data.FrameHead = 0x25;
	control_data.StraightNum = 0x05DC;
	control_data.RotateNum = 0x05DC;
	control_data.VerticalNum = 0x05DC;
	control_data.ConveyNum = 0x05DC;
	control_data.ArmNum[0] = 0x05DC;
	control_data.ArmNum[1] = 0x05DC;
	control_data.ArmNum[2] = 0x05DC;
	control_data.ArmNum[3] = 0x05DC;
	control_data.ArmNum[4] = 0x05DC;
	control_data.ArmNum[5] = 0x05DC;
	control_data.LightNum = 0x0000;
	control_data.PanNum = 0x05DC;
	control_data.RestNum = 0x05DC;
	control_data.FrameEnd = 0x21;

	__HAL_UART_ENABLE_IT(&Master_UART, UART_IT_IDLE);
	HAL_UART_Receive_DMA(&Master_UART, Command_RxBuffer,
			sizeof(Command_RxBuffer));

	for (;;)
	{
		if (xSemaphoreTake(CMD_DONE_semHandle, 0) == pdTRUE)
		{
			HAL_GPIO_TogglePin(LED_GPIO_Port, LED_Pin);
			CaptureControlData(&control_data, Command_RxBuffer);
			xQueueSendToFront(Cmd_QueueHandle, (void* )&control_data, 0);

			if (xSemaphoreTake(MAIN_UART_mutexHandle, 0))
			{
				memset(&Command_RxBuffer, 0, sizeof(Command_RxBuffer));
				__HAL_UART_ENABLE_IT(&Master_UART, UART_IT_IDLE);
				HAL_UART_Receive_DMA(&Master_UART, Command_RxBuffer,
						sizeof(Command_RxBuffer));
				xSemaphoreGive(MAIN_UART_mutexHandle);
			}
		}
//		osDelay(2); //wonderful delay
		osDelay(10);////////////////////////////////////////////////////////////////////这个位置改了
	}
}

/* USER CODE END Application */
